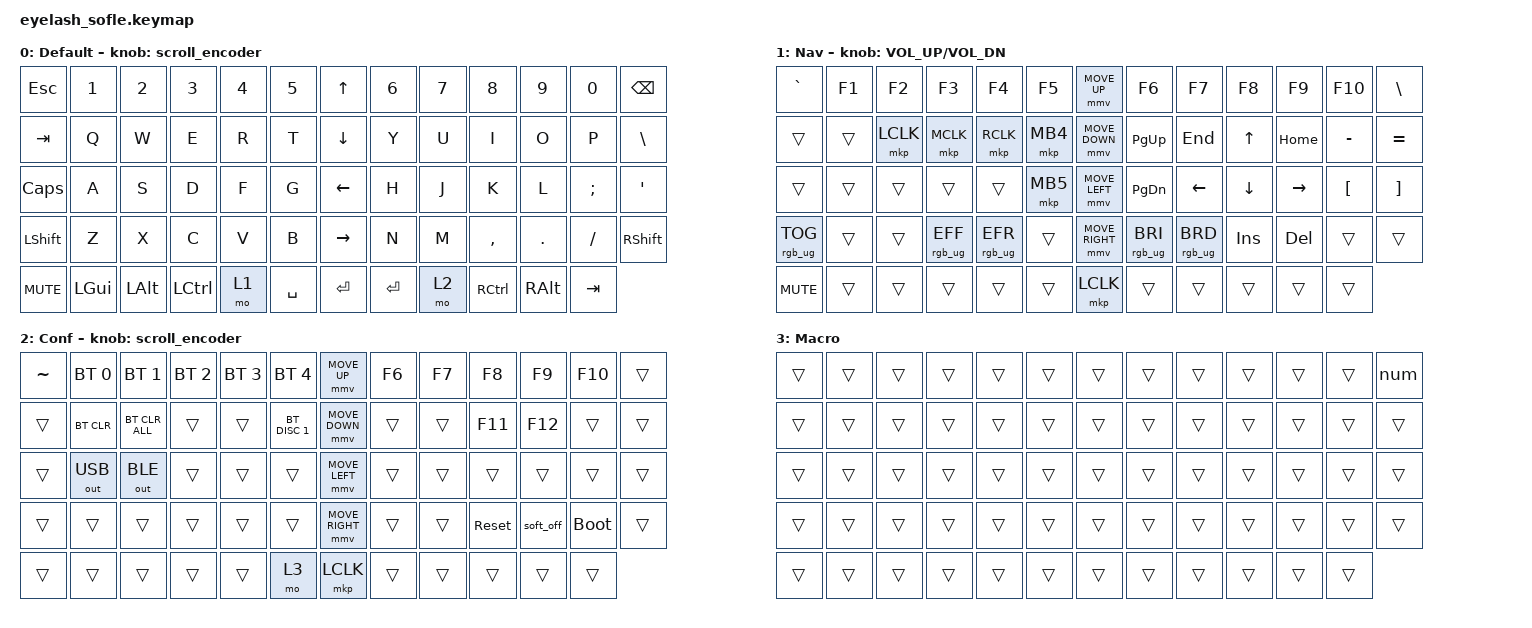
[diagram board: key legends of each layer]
#define ZMK_POINTING_DEFAULT_MOVE_VAL 1200  // 600
#define ZMK_POINTING_DEFAULT_SCRL_VAL 35    // 10

#include <input/processors.dtsi>
#include <zephyr/dt-bindings/input/input-event-codes.h>
#include <behaviors.dtsi>
#include <dt-bindings/zmk/bt.h>
#include <dt-bindings/zmk/keys.h>
#include <dt-bindings/zmk/outputs.h>
#include <dt-bindings/zmk/pointing.h>
#include <dt-bindings/zmk/rgb.h>

/ {
    zip_scroll_scaler: zip_scroll_scaler {
        compatible = "zmk,input-processor-scaler";
        #input-processor-cells = <2>;
        type = <INPUT_EV_REL>;
        codes = <INPUT_REL_WHEEL INPUT_REL_HWHEEL>;
        track-remainders;
    };
};

&mmv_input_listener { input-processors = <&zip_xy_scaler 2 1>; };

&msc_input_listener { input-processors = <&zip_scroll_scaler 2 1>; };

&msc {
    acceleration-exponent = <0>;      // 0
    time-to-max-speed-ms = <0>;       // 300
    delay-ms = <0>;                   // 0
};

&mmv {
    time-to-max-speed-ms = <400>;
    acceleration-exponent = <1>;
};

/ {
    scroll_encoder: scroll_encoder {
        compatible = "zmk,behavior-sensor-rotate";
        #sensor-binding-cells = <0>;
        bindings = <&msc SCRL_DOWN>, <&msc SCRL_UP>;

        tap-ms = <100>;
    };

    macros {
        shift_MB3: shift_MB3 {
            compatible = "zmk,behavior-macro";
            #binding-cells = <0>;
            bindings =
                <&macro_press>,
                <&kp LEFT_SHIFT>,
                <&macro_press>,
                <&mkp MB3>,
                <&macro_pause_for_release>,
                <&macro_release>,
                <&mkp MB3 &kp LEFT_SHIFT>;

            label = "SHIFT_MB3";
        };

        num: num {
            compatible = "zmk,behavior-macro";
            #binding-cells = <0>;
            bindings =
                <&kp N1 &kp N8 &kp N5 &kp N2 &kp N1 &kp N2>,
                <&macro_wait_time 100>,
                <&kp ENTER>;

            label = "NUM";
            wait-ms = <100>;
        };
    };

    behaviors {
    };

    keymap {
        compatible = "zmk,keymap";

        Default {
            bindings = <
&kp ESC     &kp N1        &kp N2        &kp N3            &kp N4  &kp N5       &kp UP_ARROW     &kp N6     &kp N7  &kp N8             &kp N9         &kp N0    &kp BACKSPACE
&kp TAB     &kp Q         &kp W         &kp E             &kp R   &kp T        &kp DOWN_ARROW   &kp Y      &kp U   &kp I              &kp O          &kp P     &kp BSLH
&kp CAPS    &kp A         &kp S         &kp D             &kp F   &kp G        &kp LEFT_ARROW   &kp H      &kp J   &kp K              &kp L          &kp SEMI  &kp APOS
&kp LSHFT   &kp Z         &kp X         &kp C             &kp V   &kp B        &kp RIGHT_ARROW  &kp N      &kp M   &kp COMMA          &kp DOT        &kp FSLH  &kp RIGHT_SHIFT
&kp C_MUTE  &kp LEFT_GUI  &kp LEFT_ALT  &kp LEFT_CONTROL  &mo 1   &kp SPACE    &kp ENTER        &kp ENTER  &mo 2   &kp RIGHT_CONTROL  &kp RIGHT_ALT  &kp TAB
            >;

            sensor-bindings = <&scroll_encoder>;
            display-name = "Default";
        };

        Nav {
            bindings = <
&kp GRAVE        &kp F1  &kp F2     &kp F3           &kp F4           &kp F5      &mmv MOVE_UP     &kp F6           &kp F7           &kp F8      &kp F9     &kp F10           &kp BACKSLASH
&trans           &trans  &mkp LCLK  &mkp MCLK        &mkp RCLK        &mkp MB4    &mmv MOVE_DOWN   &kp PG_UP        &kp END          &kp UP      &kp HOME   &kp MINUS         &kp EQUAL
&trans           &trans  &trans     &trans           &trans           &mkp MB5    &mmv MOVE_LEFT   &kp PG_DN        &kp LEFT         &kp DOWN    &kp RIGHT  &kp LEFT_BRACKET  &kp RIGHT_BRACKET
&rgb_ug RGB_TOG  &trans  &trans     &rgb_ug RGB_EFF  &rgb_ug RGB_EFR  &trans      &mmv MOVE_RIGHT  &rgb_ug RGB_BRI  &rgb_ug RGB_BRD  &kp INSERT  &kp DEL    &trans            &trans
&kp C_MUTE       &trans  &trans     &trans           &trans           &trans      &mkp LCLK        &trans           &trans           &trans      &trans     &trans
            >;

            display-name = "Nav";
            sensor-bindings = <&inc_dec_kp C_VOLUME_UP C_VOL_DN>;
        };

        Conf {
            bindings = <
&kp TILDE  &bt BT_SEL 0  &bt BT_SEL 1    &bt BT_SEL 2  &bt BT_SEL 3  &bt BT_SEL 4     &mmv MOVE_UP     &kp F6  &kp F7  &kp F8      &kp F9     &kp F10      &trans
&trans     &bt BT_CLR    &bt BT_CLR_ALL  &trans        &trans        &bt BT_DISC 1    &mmv MOVE_DOWN   &trans  &trans  &kp F11     &kp F12    &trans       &trans
&trans     &out OUT_USB  &out OUT_BLE    &trans        &trans        &trans           &mmv MOVE_LEFT   &trans  &trans  &trans      &trans     &trans       &trans
&trans     &trans        &trans          &trans        &trans        &trans           &mmv MOVE_RIGHT  &trans  &trans  &sys_reset  &soft_off  &bootloader  &trans
&trans     &trans        &trans          &trans        &trans        &mo 3            &mkp LCLK        &trans  &trans  &trans      &trans     &trans
            >;

            sensor-bindings = <&scroll_encoder>;
            label = "Conf";
        };

        Macro {
            bindings = <
&trans  &trans  &trans  &trans  &trans  &trans    &trans  &trans  &trans  &trans  &trans  &trans  &num
&trans  &trans  &trans  &trans  &trans  &trans    &trans  &trans  &trans  &trans  &trans  &trans  &trans
&trans  &trans  &trans  &trans  &trans  &trans    &trans  &trans  &trans  &trans  &trans  &trans  &trans
&trans  &trans  &trans  &trans  &trans  &trans    &trans  &trans  &trans  &trans  &trans  &trans  &trans
&trans  &trans  &trans  &trans  &trans  &trans    &trans  &trans  &trans  &trans  &trans  &trans
            >;

            label = "Macro";
        };
    };
};
